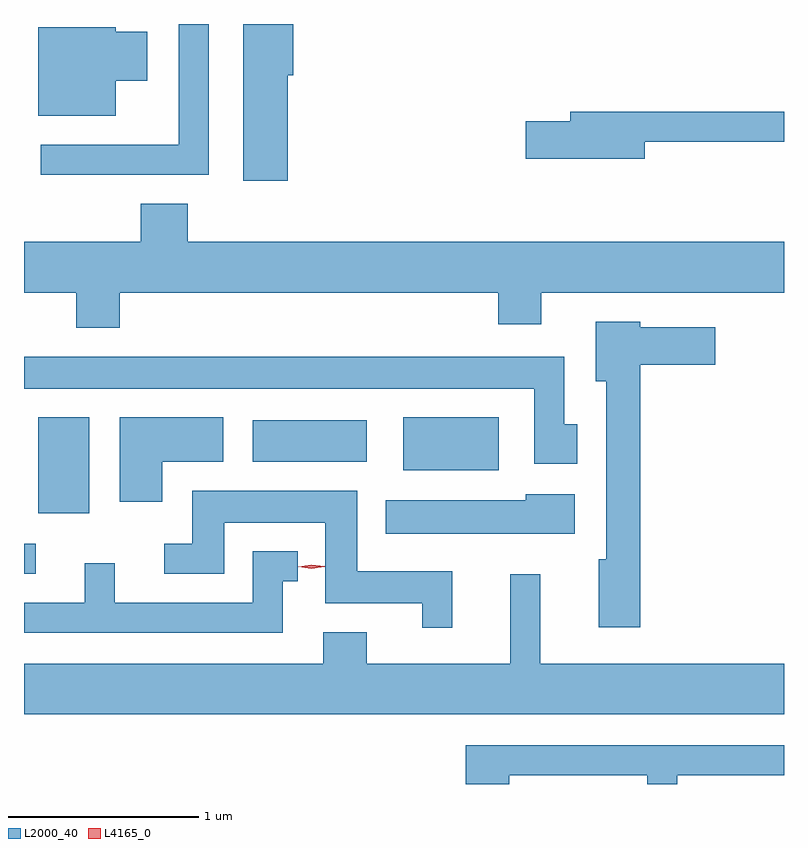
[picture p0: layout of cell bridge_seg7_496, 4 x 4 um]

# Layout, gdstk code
import gdstk
lib = gdstk.Library(unit=1e-6, precision=1e-09)
def R(c, l, rs):  # rectangles x0, y0, x1, y1
    for r in rs: c.add(gdstk.rectangle(r[:2], r[2:], *l))
def P(c, l, *ps):  # polygons
    for p in ps: c.add(gdstk.Polygon(p, *l))
L2000_40 = (2000, 40)
L4165_0 = (4165, 0)

bridge_seg7_496 = lib.new_cell('bridge_seg7_496')
R(bridge_seg7_496, L2000_40, [(1341.126,1732.816,1341.188,1732.974), (1341.201,1733.136,1341.469,1733.639), (1343.121,1733.361,1343.624,1733.639), (1342.331,1733.406,1342.929,1733.624)])
P(bridge_seg7_496, L2000_40, [(1342.514,1735.441),(1342.544,1735.441),(1342.544,1735.71),(1342.281,1735.71),(1342.281,1734.886),(1342.514,1734.886)],
  [(1342.099,1735.71),(1341.941,1735.71),(1341.941,1735.074),(1341.213,1735.074),(1341.213,1734.916),(1342.099,1734.916)],
  [(1341.609,1735.411),(1341.774,1735.411),(1341.774,1735.669),(1341.609,1735.669),(1341.609,1735.694),(1341.201,1735.694),(1341.201,1735.226),(1341.609,1735.226)],
  [(1344.394,1735.091),(1345.126,1735.091),(1345.126,1735.249),(1344.001,1735.249),(1344.001,1735.199),(1343.766,1735.199),(1343.766,1735.001),(1344.394,1735.001)],
  [(1341.629,1734.296),(1343.621,1734.296),(1343.621,1734.131),(1343.849,1734.131),(1343.849,1734.296),(1345.126,1734.296),(1345.126,1734.564),(1341.989,1734.564),(1341.989,1734.764),(1341.741,1734.764),(1341.741,1734.564),(1341.126,1734.564),(1341.126,1734.296),(1341.401,1734.296),(1341.401,1734.111),(1341.629,1734.111)],
  [(1344.369,1733.916),(1344.764,1733.916),(1344.764,1734.114),(1344.369,1734.114),(1344.369,1734.144),(1344.136,1734.144),(1344.136,1733.831),(1344.191,1733.831),(1344.191,1732.894),(1344.151,1732.894),(1344.151,1732.536),(1344.369,1732.536)],
  [(1344.039,1733.604),(1343.969,1733.604),(1343.969,1733.959),(1341.126,1733.959),(1341.126,1733.791),(1343.811,1733.791),(1343.811,1733.396),(1344.039,1733.396)],
  [(1341.854,1733.406),(1342.174,1733.406),(1342.174,1733.639),(1341.631,1733.639),(1341.631,1733.196),(1341.854,1733.196)],
  [(1343.379,1732.829),(1342.879,1732.829),(1342.879,1733.254),(1342.011,1733.254),(1342.011,1732.974),(1341.863,1732.974),(1341.863,1732.816),(1342.179,1732.816),(1342.179,1733.086),(1342.711,1733.086),(1342.711,1732.661),(1343.221,1732.661),(1343.221,1732.533),(1343.379,1732.533)],
  [(1344.024,1733.234),(1343.766,1733.234),(1343.766,1733.204),(1343.031,1733.204),(1343.031,1733.026),(1344.024,1733.026)],
  [(1342.489,1732.776),(1342.568,1732.776),(1342.568,1732.934),(1342.331,1732.934),(1342.331,1732.664),(1341.604,1732.664),(1341.604,1732.873),(1341.446,1732.873),(1341.446,1732.664),(1341.126,1732.664),(1341.126,1732.506),(1342.489,1732.506)],
  [(1345.126,1732.344),(1343.844,1732.344),(1343.844,1732.813),(1343.686,1732.813),(1343.686,1732.344),(1342.929,1732.344),(1342.929,1732.509),(1342.701,1732.509),(1342.701,1732.344),(1341.126,1732.344),(1341.126,1732.076),(1345.126,1732.076)],
  [(1343.679,1731.756),(1344.406,1731.756),(1344.406,1731.71),(1344.564,1731.71),(1344.564,1731.756),(1345.126,1731.756),(1345.126,1731.914),(1343.451,1731.914),(1343.451,1731.71),(1343.679,1731.71)])
P(bridge_seg7_496, L4165_0, [(1342.638,1732.844),(1342.569,1732.853),(1342.569,1732.854),(1342.569,1732.854),(1342.638,1732.864),(1342.708,1732.855),(1342.708,1732.854),(1342.708,1732.854)])

lib.write_gds('bridge_seg7_496.gds')
